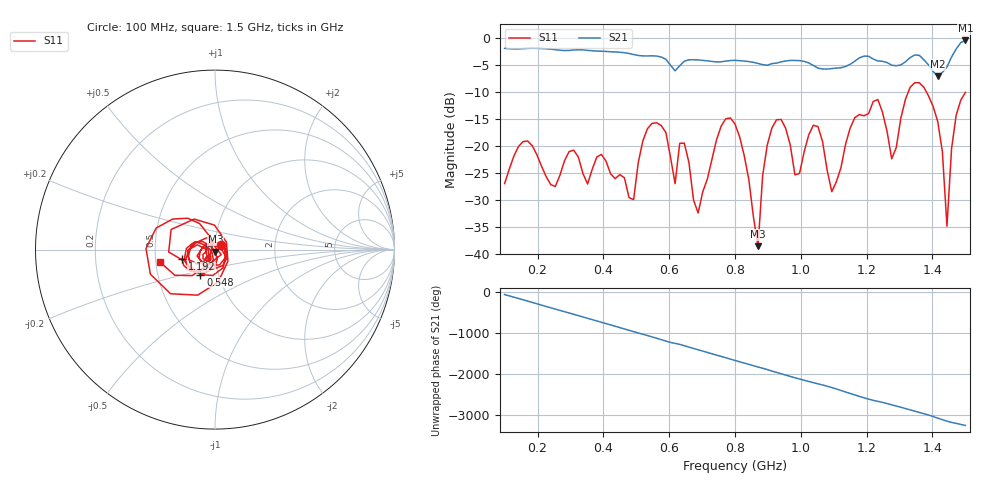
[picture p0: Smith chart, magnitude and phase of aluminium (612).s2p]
! NanoVNA-App
! Date: 2025-09-25 15:00:02
! Start: 100MHz Stop: 1,5GHz Points: 101
! S-Parameter data: F S11 S21 S12 S22
# Hz S RI R 50
!  Frequency  S11_Real  S11_Imag  S21_Real  S21_Imag  S12_Real  S12_Imag  S22_Real  S22_Imag
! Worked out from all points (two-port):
!   101 points, 100 MHz to 1.5 GHz, reference 50 ohm
!   highest |S21| = -0.46 dB at 1.5 GHz (marker M1); lowest = -7.1 dB at 1.416 GHz (marker M2)
!   |S21| within 3 dB of the highest: start of sweep to 570.5 MHz; 1.459 GHz to end of sweep (the widest 2 of 4)
!   lowest |S11| = -38.6 dB at 870 MHz (marker M3), VSWR 1.02, Z = 50.2 - j1.17 ohm
!   |S11| at or under -10 dB: start of sweep to 1.327 GHz; 1.382 GHz to end of sweep
!   S12 and S22 are empty: the file has one direction only
!   S11 on the Smith chart (normalised r, x): 100 MHz: 1.07, +0.06; 548 MHz: 0.82, -0.24; 1.192 GHz: 0.69, -0.08; 1.5 GHz: 0.53, -0.08
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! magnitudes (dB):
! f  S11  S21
! 100 MHz  -27.0  -1.9
! 170 MHz  -19.1  -1.9
! 338 MHz  -25.1  -2.2
! 492 MHz  -29.9  -3.1
! 548 MHz  -15.8  -3.3
! 576 MHz  -16.2  -3.5
! 646 MHz  -19.5  -4.3
! 688 MHz  -32.4  -4.1
! 800 MHz  -15.9  -4.1
! 870 MHz  -38.6  -4.7
! 912 MHz  -16.7  -4.7
! 982 MHz  -25.3  -4.2
! 1.038 GHz  -16.2  -5.1
! 1.094 GHz  -28.5  -5.7
! 1.192 GHz  -14.4  -3.4
! 1.234 GHz  -11.4  -4.3
! 1.276 GHz  -22.4  -5.0
! 1.346 GHz  -8.3  -3.2
! 1.416 GHz  -15.5  -7.1
! 1.444 GHz  -34.9  -5.4
! 1.458 GHz  -20.5  -3.5
! 1.5 GHz  -10.1  -0.5
